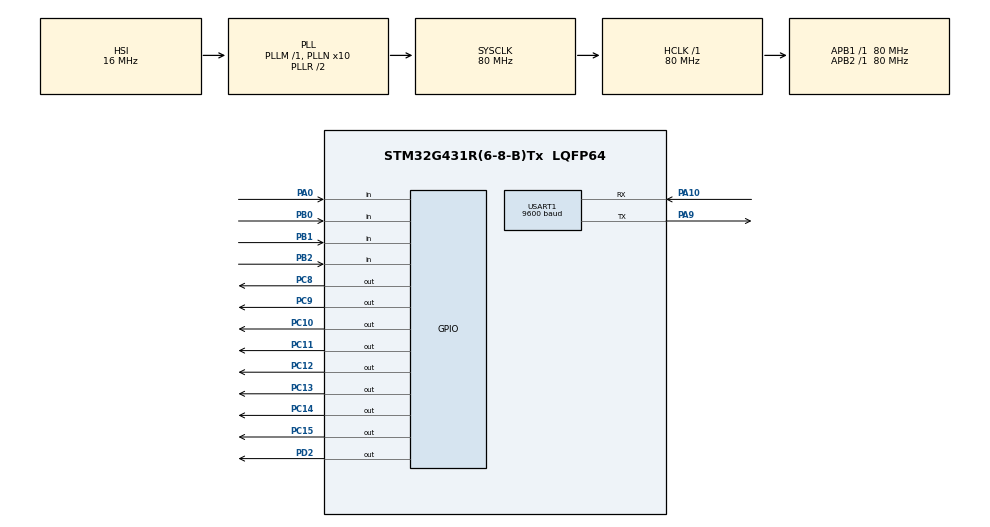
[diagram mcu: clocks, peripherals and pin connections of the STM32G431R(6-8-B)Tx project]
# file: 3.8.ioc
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Mcu.Family=STM32G4
Mcu.Name=STM32G431R(6-8-B)Tx
Mcu.Package=LQFP64
NVIC.PriorityGroup=NVIC_PRIORITYGROUP_4
NVIC.RTC_Alarm_IRQn=true\:0\:0\:false\:false\:true\:true\:true\:true
NVIC.TIM2_IRQn=true\:0\:0\:false\:false\:true\:true\:true\:true
NVIC.USART1_IRQn=true\:0\:0\:false\:false\:true\:true\:true\:true
PA0.GPIO_Mode=GPIO_MODE_INPUT
PA0.GPIO_PuPd=GPIO_PULLUP
PA0.Signal=GPIO_Input
PA10.Mode=Asynchronous
PA10.Signal=USART1_RX
PA13.Mode=Serial_Wire
PA13.Signal=SYS_JTMS-SWDIO
PA14.Mode=Serial_Wire
PA14.Signal=SYS_JTCK-SWCLK
PA9.Mode=Asynchronous
PA9.Signal=USART1_TX
PB0.GPIO_Mode=GPIO_MODE_INPUT
PB0.GPIO_PuPd=GPIO_PULLUP
PB0.Signal=GPIO_Input
PB1.GPIO_Mode=GPIO_MODE_INPUT
PB1.GPIO_PuPd=GPIO_PULLUP
PB1.Signal=GPIO_Input
PB2.GPIO_Mode=GPIO_MODE_INPUT
PB2.GPIO_PuPd=GPIO_PULLUP
PB2.Signal=GPIO_Input
PC10.GPIO_ModeDefaultOutputPP=GPIO_MODE_OUTPUT_PP
PC10.GPIO_PuPd=GPIO_NOPULL
PC10.PinState=GPIO_PIN_SET
PC10.Signal=GPIO_Output
PC11.GPIO_ModeDefaultOutputPP=GPIO_MODE_OUTPUT_PP
PC11.GPIO_PuPd=GPIO_NOPULL
PC11.PinState=GPIO_PIN_SET
PC11.Signal=GPIO_Output
PC12.GPIO_ModeDefaultOutputPP=GPIO_MODE_OUTPUT_PP
PC12.GPIO_PuPd=GPIO_NOPULL
PC12.PinState=GPIO_PIN_SET
PC12.Signal=GPIO_Output
PC13.GPIO_ModeDefaultOutputPP=GPIO_MODE_OUTPUT_PP
PC13.GPIO_PuPd=GPIO_NOPULL
PC13.PinState=GPIO_PIN_SET
PC13.Signal=GPIO_Output
PC14-OSC32_IN.GPIO_ModeDefaultOutputPP=GPIO_MODE_OUTPUT_PP
PC14-OSC32_IN.GPIO_PuPd=GPIO_NOPULL
PC14-OSC32_IN.PinState=GPIO_PIN_SET
PC14-OSC32_IN.Signal=GPIO_Output
PC15-OSC32_OUT.GPIO_ModeDefaultOutputPP=GPIO_MODE_OUTPUT_PP
PC15-OSC32_OUT.GPIO_PuPd=GPIO_NOPULL
PC15-OSC32_OUT.PinState=GPIO_PIN_SET
PC15-OSC32_OUT.Signal=GPIO_Output
PC8.GPIO_ModeDefaultOutputPP=GPIO_MODE_OUTPUT_PP
PC8.GPIO_PuPd=GPIO_NOPULL
PC8.PinState=GPIO_PIN_SET
PC8.Signal=GPIO_Output
PC9.GPIO_ModeDefaultOutputPP=GPIO_MODE_OUTPUT_PP
PC9.GPIO_PuPd=GPIO_NOPULL
PC9.PinState=GPIO_PIN_SET
PC9.Signal=GPIO_Output
PD2.GPIO_ModeDefaultOutputPP=GPIO_MODE_OUTPUT_PP
PD2.GPIO_PuPd=GPIO_NOPULL
PD2.PinState=GPIO_PIN_SET
PD2.Signal=GPIO_Output
PF0-OSC_IN.Mode=HSE-External-Oscillator
PF0-OSC_IN.Signal=RCC_OSC_IN
PF1-OSC_OUT.Mode=HSE-External-Oscillator
PF1-OSC_OUT.Signal=RCC_OSC_OUT
ProjectManager.HeapSize=0x200
ProjectManager.StackSize=0x400
ProjectManager.TargetToolchain=MDK-ARM V5.32
RCC.ADC12Freq_Value=80000000
RCC.AHBFreq_Value=80000000
RCC.APB1Freq_Value=80000000
RCC.APB1TimFreq_Value=80000000
RCC.APB2Freq_Value=80000000
RCC.APB2TimFreq_Value=80000000
RCC.CortexFreq_Value=80000000
RCC.EXTERNAL_CLOCK_VALUE=12288000
RCC.HCLKFreq_Value=80000000
RCC.HSE_VALUE=24000000
RCC.HSI48_VALUE=48000000
RCC.HSI_VALUE=16000000
RCC.PLLN=10
RCC.SYSCLKFreq_VALUE=80000000
RCC.SYSCLKSource=RCC_SYSCLKSOURCE_PLLCLK
RCC.USBFreq_Value=80000000
RCC.VCOOutputFreq_Value=160000000
RTC.Alarm-Alarm\ A=RTC_ALARM_A
RTC.AlarmMaskDateWeekDay-Alarm\ A=RTC_ALARMMASK_DATEWEEKDAY
RTC.Date=8
RTC.Format=RTC_FORMAT_BIN
RTC.Hours=23
RTC.Hours_A-Alarm\ A=23
RTC.Minutes=53
RTC.Minutes_A-Alarm\ A=53
RTC.Month=RTC_MONTH_MARCH
RTC.Seconds=10
RTC.Seconds_A-Alarm\ A=20
RTC.WeekDay=RTC_WEEKDAY_SUNDAY
TIM2.PeriodNoDither=1000-1
TIM2.Prescaler=80-1
TIM4.Prescaler=8000-1
USART1.BaudRate=9600
USART1.VirtualMode-Asynchronous=VM_ASYNC
VP_RTC_VS_RTC_Activate.Mode=RTC_Enabled
VP_RTC_VS_RTC_Alarm_A_Intern.Mode=Alarm A
VP_RTC_VS_RTC_Calendar.Mode=RTC_Calendar
VP_SYS_VS_DBSignals.Mode=DisableDeadBatterySignals
VP_TIM2_VS_ClockSourceINT.Mode=Internal
VP_TIM4_VS_ClockSourceINT.Mode=Internal
board=custom

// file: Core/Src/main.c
/* USER CODE BEGIN Header */
/**
  ******************************************************************************
  * @file           : main.c
  * @brief          : Main program body
  ******************************************************************************
  * @attention
  *
  * Copyright (c) 2026 STMicroelectronics.
  * All rights reserved.
  *
  * This software is licensed under terms that can be found in the LICENSE file
  * in the root directory of this software component.
  * If no LICENSE file comes with this software, it is provided AS-IS.
  *
  ******************************************************************************
  */
/* USER CODE END Header */
#include "main.h"
#include "rtc.h"
#include "tim.h"
#include "usart.h"
#include "gpio.h"

/* USER CODE BEGIN Includes */
#include "headfile.h"
/* USER CODE END Includes */

/* USER CODE BEGIN PV */
int8_t count=0;
/* USER CODE END PV */

void SystemClock_Config(void);

int main(void)
{

  /* MCU Configuration--------------------------------------------------------*/

  /* Reset of all peripherals, Initializes the Flash interface and the Systick. */
  HAL_Init();

  /* Configure the system clock */
  SystemClock_Config();

  /* Initialize all configured peripherals */
  MX_GPIO_Init();
  MX_TIM2_Init();
  MX_TIM4_Init();
  MX_USART1_UART_Init();
  MX_RTC_Init();
  /* USER CODE BEGIN 2 */
  HAL_GPIO_WritePin(GPIOD,GPIO_PIN_2,GPIO_PIN_RESET);

LCD_Init();
LCD_Clear(Black);
LCD_SetBackColor(Black);
LCD_SetTextColor(White);

HAL_TIM_Base_Start_IT(&htim2);
HAL_TIM_Base_Start_IT(&htim4);

HAL_UART_Receive_IT(&huart1,&rec_data,1);//相当于串口使能

I2CInit();
eeprom_write(0,10);
uint8_t dat=eeprom_read(0);
char text[20];

  /* USER CODE END 2 */

  /* Infinite loop */
  /* USER CODE BEGIN WHILE */
  while (1)
  {
	  sprintf(text,"   %d    ",dat);
	LCD_DisplayStringLine(Line6,(uint8_t *)text);
//	  uart_date_rec();
	  show_lcd();
	  show_led(1,1);
	//  show_led(8,0);
	  show_led(2,led2state);

	  if(key_short)
	  {
		switch(key_short)
		{
			case 1:
			{
				count++;
			}break;

			case 2:
			{
				count+=2;
			}break;
		}key_short=0;
	  }

	  if(key_long)
	  {
		switch(key_long)
		{
			case 1:
			{
				count-=2;
			}break;

			case 2:
			{
				count-=2;
			}break;
		}key_long=0;
	  }

    /* USER CODE END WHILE */

  }
}

void SystemClock_Config(void)
{
  RCC_OscInitTypeDef RCC_OscInitStruct = {0};
  RCC_ClkInitTypeDef RCC_ClkInitStruct = {0};

  /** Configure the main internal regulator output voltage
  */
  HAL_PWREx_ControlVoltageScaling(PWR_REGULATOR_VOLTAGE_SCALE1);

  /** Initializes the RCC Oscillators according to the specified parameters
  * in the RCC_OscInitTypeDef structure.
  */
  RCC_OscInitStruct.OscillatorType = RCC_OSCILLATORTYPE_HSI|RCC_OSCILLATORTYPE_LSI;
  RCC_OscInitStruct.HSIState = RCC_HSI_ON;
  RCC_OscInitStruct.HSICalibrationValue = RCC_HSICALIBRATION_DEFAULT;
  RCC_OscInitStruct.LSIState = RCC_LSI_ON;
  RCC_OscInitStruct.PLL.PLLState = RCC_PLL_ON;
  RCC_OscInitStruct.PLL.PLLSource = RCC_PLLSOURCE_HSI;
  RCC_OscInitStruct.PLL.PLLM = RCC_PLLM_DIV1;
  RCC_OscInitStruct.PLL.PLLN = 10;
  RCC_OscInitStruct.PLL.PLLP = RCC_PLLP_DIV2;
  RCC_OscInitStruct.PLL.PLLQ = RCC_PLLQ_DIV2;
  RCC_OscInitStruct.PLL.PLLR = RCC_PLLR_DIV2;
  if (HAL_RCC_OscConfig(&RCC_OscInitStruct) != HAL_OK)
  {
    Error_Handler();
  }

  /** Initializes the CPU, AHB and APB buses clocks
  */
  RCC_ClkInitStruct.ClockType = RCC_CLOCKTYPE_HCLK|RCC_CLOCKTYPE_SYSCLK
                              |RCC_CLOCKTYPE_PCLK1|RCC_CLOCKTYPE_PCLK2;
  RCC_ClkInitStruct.SYSCLKSource = RCC_SYSCLKSOURCE_PLLCLK;
  RCC_ClkInitStruct.AHBCLKDivider = RCC_SYSCLK_DIV1;
  RCC_ClkInitStruct.APB1CLKDivider = RCC_HCLK_DIV1;
  RCC_ClkInitStruct.APB2CLKDivider = RCC_HCLK_DIV1;

  if (HAL_RCC_ClockConfig(&RCC_ClkInitStruct, FLASH_LATENCY_2) != HAL_OK)
  {
    Error_Handler();
  }
}

void Error_Handler(void)
{
  __disable_irq();
  while (1)
  {
  }
}
